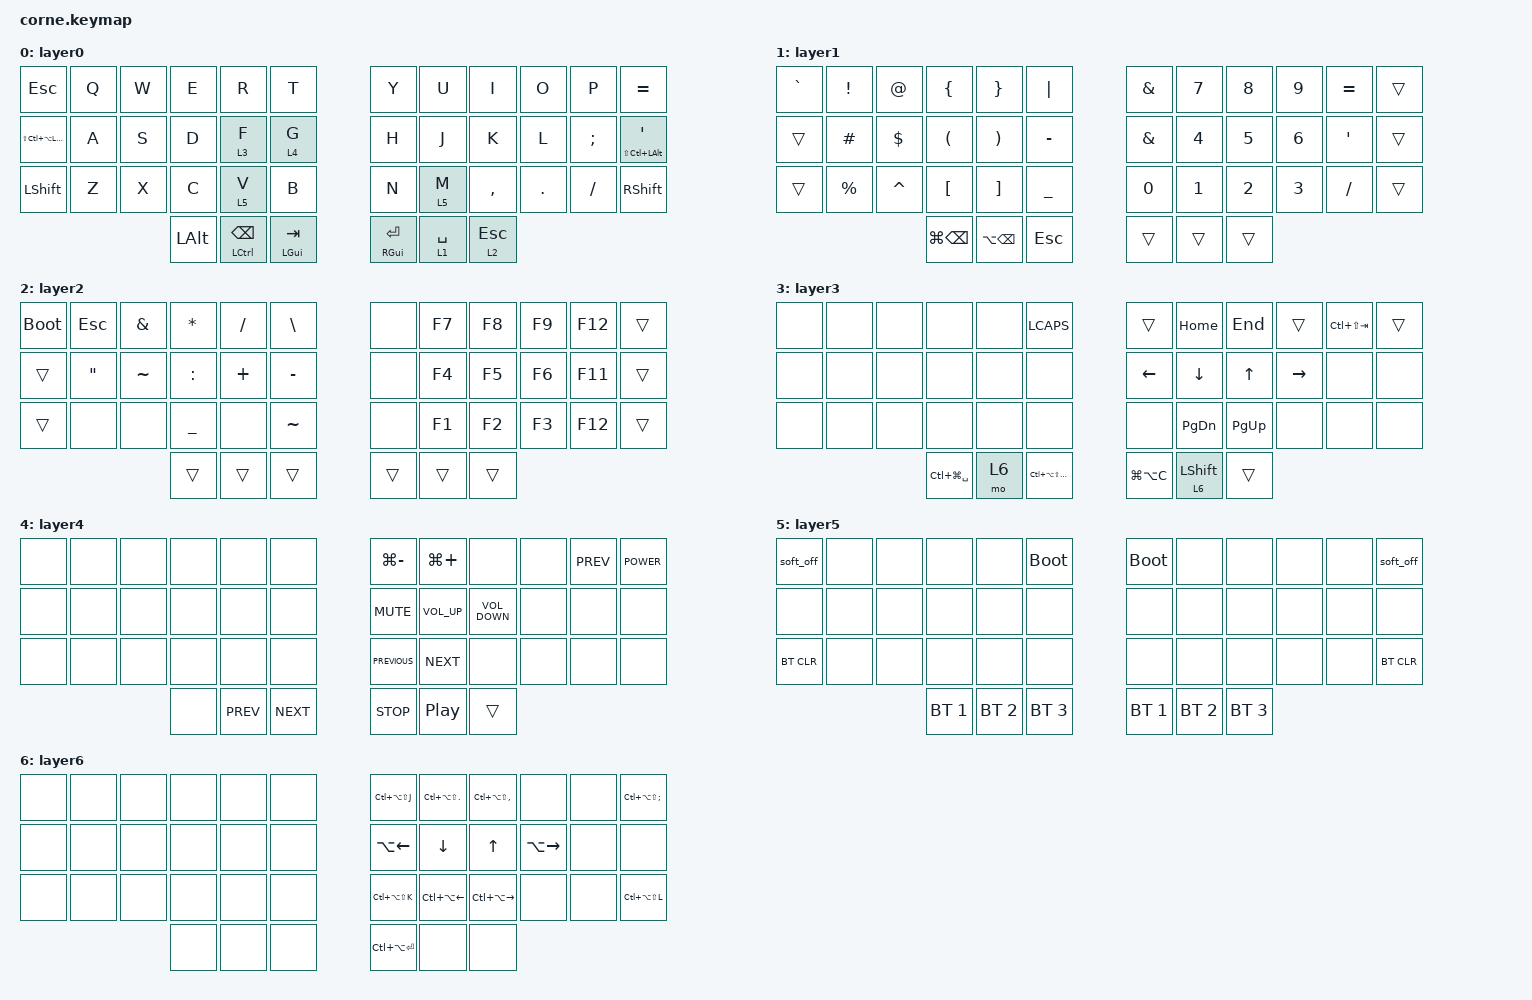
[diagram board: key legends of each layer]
/*
 * Copyright (c) 2020 The ZMK Contributors
 *
 * SPDX-License-Identifier: MIT
 */

#include <behaviors.dtsi>
#include <dt-bindings/zmk/keys.h>
#include <dt-bindings/zmk/bt.h>
#include <dt-bindings/zmk/ext_power.h>


#define L0 0
#define L1 1
#define L2 2
#define L3 3
#define L4 4
#define L5 5
#define L6 6

#define TAPPING_TERM 200

&soft_off {
    hold-time-ms = <1000>; // Only turn off it the key is held for 1 seconds or longer.
};

/ {
    keymap {
        compatible = "zmk,keymap";

        // Layer 0
        layer0 {
            bindings = <
            &kp ESC  &kp Q  &kp W  &kp E  &kp R  &kp T                &kp Y  &kp U   &kp I     &kp O    &kp P     &kp EQUAL
&kp LS(LC(LA(LGUI))) &kp A  &kp S  &kp D  &lt L3 F  &lt L4 G          &kp H  &kp J   &kp K     &kp L    &kp SEMI  &mt LS(LC(LALT)) SQT
           &kp LSHFT &kp Z  &kp X  &kp C  &lt L5 V  &kp B                &kp N  &lt L5 M   &kp COMMA &kp DOT  &kp SLASH &kp RSHFT
                       &kp LALT  &mt LCTRL BSPC &mt LGUI TAB                  &mt RGUI ENTER  &lt L1 SPACE  &lt L2 ESC
            >;
        };

        // Layer 1
        layer1 {
            bindings = <
                &kp GRAVE  &kp EXCL  &kp AT   &kp LBRC  &kp RBRC  &kp PIPE            &kp AMPS  &kp N7  &kp N8  &kp N9  &kp EQUAL &trans
                &trans  &kp HASH  &kp DOLLAR  &kp LPAR  &kp RPAR  &kp MINUS           &kp AMPS  &kp N4  &kp N5  &kp N6  &kp SQT   &trans
                &trans  &kp PRCNT &kp CARET   &kp LBKT  &kp RBKT  &kp UNDER           &kp N0    &kp N1  &kp N2  &kp N3  &kp FSLH  &trans
                                    &kp LG(BSPC) &kp LA(BSPC)  &kp ESC                            &trans  &trans  &trans
            >; 
        };

        // Layer 2
        layer2 {
            bindings = <
                &bootloader  &kp ESC  &kp AMPS  &kp STAR &kp FSLH &kp BSLH        &none  &kp F7  &kp F8  &kp F9  &kp F12  &trans
                &trans  &kp DQT  &kp TILDE &kp COLON  &kp PLUS &kp MINUS          &none  &kp F4  &kp F5  &kp F6  &kp F11  &trans
                &trans  &none    &none     &kp UNDER  &none     &kp TILDE         &none  &kp F1  &kp F2  &kp F3  &kp F12  &trans
                                   &trans  &trans  &trans                                 &trans  &trans  &trans
            >;
        };

        // Layer 3
        layer3 {
            bindings = <
                &none  &none  &none  &none  &none  &kp LCAPS                         &trans &kp HOME  &kp END  &trans  &kp LC(LS(TAB))  &trans
                &none  &none  &none  &none  &none  &none                             &kp LEFT  &kp DOWN   &kp UP     &kp RIGHT  &none  &none
                &none  &none  &none  &none  &none  &none                             &none     &kp PG_DN  &kp PG_UP  &none      &none  &none
                &kp LC(LG(SPACE))   &mo 6    &kp LC(LA(LS(LG(UP))))                       &kp LG(LA(C))       &lt 6 LSHFT      &trans
            >;
        };

        // Layer 4
        layer4 {
            bindings = <
                &none  &none  &none  &none  &none  &none                            &kp LG(MINUS)  &kp LG(PLUS)  &none              &none      &kp C_PREV  &kp C_POWER
                &none  &none  &none  &none  &none  &none                            &kp C_MUTE  &kp C_VOLUME_UP  &kp C_VOLUME_DOWN  &none      &none       &none
                &none  &none  &none  &none  &none  &none                            &kp C_PREVIOUS &kp C_NEXT       &none              &none      &none       &none
                        &none  &kp C_PREV  &kp C_NEXT                                    &kp C_STOP  &kp C_PLAY_PAUSE  &trans
            >;
        };

        // Layer 5
        layer5 {
            bindings = <
            &soft_off   &none  &none  &none         &none          &bootloader                 &bootloader   &none  &none  &none  &none  &soft_off
            &none       &none  &none  &none         &none          &none                       &none   &none  &none  &none  &none  &none
            &bt BT_CLR  &none  &none  &none         &none          &none                       &none   &none  &none  &none  &none  &bt BT_CLR
                            &bt BT_SEL 1  &bt BT_SEL 2 &bt BT_SEL 3                                   &bt BT_SEL 1  &bt BT_SEL 2 &bt BT_SEL 3
            >;
        };

        // Layer 6: Alt Nav + Window snapping
        layer6 {
            bindings = <
              // ------------------------------------------------------topleft corner----snap center---------------snap menu ---
                &none &none &none &none &none &none                &kp LC(LA(LS(J))) &kp LC(LA(LS(.))) &kp LC(LA(LS(,)))  &none        &none     &kp LC(LA(LS(SEMI)))

                &none &none &none &none &none &none                &kp LA(LEFT)      &kp DOWN          &kp UP             &kp LA(RIGHT) &none  &none

                &none &none &none &none &none &none                &kp LC(LA(LS(K))) &kp LC(LA(LEFT))  &kp LC(LA(RIGHT))  &none        &none  &kp LC(LA(LS(L)))

                        &none  &none  &none                                   &kp LC(LA(RET))  &none   &none
            >;
        };

    };
};
